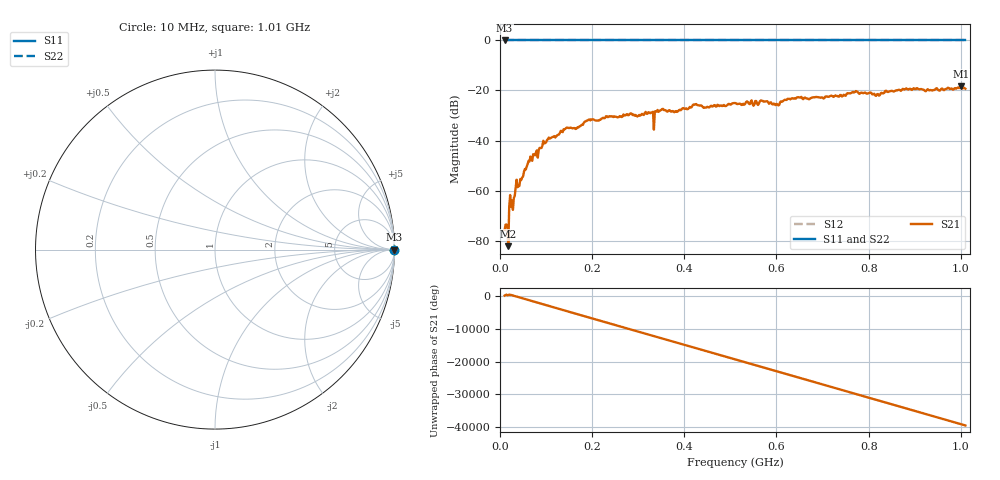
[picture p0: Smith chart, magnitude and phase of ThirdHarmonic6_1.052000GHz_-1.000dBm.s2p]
! 8/16/2025 9:18:54 AM
! C:\ANRITSUVNA\TEMP\TEMP.S2P
! CHANNEL.1
! TR.MEASUREMENT
! RAW.DATA
! RF.CORRECTION.OFF
! AVERAGING.OFF
! IF.BANDWIDTH: 5KHZ
! SWEEPTYPE:  FREQ.SWEEP(Linear)
! Reference Plane Port Info
! PORT:  PORT1  PORT2
! DISTANCE:  0  m  0  m
! TIME:  0  s  0  s
! PHASE.OFFSET:  0  deg.  0  deg.
! LOSS:  0  dB  0  dB
! REF.LOSS:  0  dB  0  dB
! REF.FREQ:  0  Hz  0  Hz
! Power Info
! POWER:  -20  dBm  -20  dBm
! EFF.POWER:  -20  dBm  -20  dBm
! SOURCE.ATTEN:  0  dB  0  dB
! TEST.ATTEN:  0  dB  0  dB
# GHZ S RI R 50.0
! FREQ.GHZ  S11RE  S11IM  S21RE  S21IM  S12RE  S12IM  S22RE  S22IM
!; PortSelection: Port_12
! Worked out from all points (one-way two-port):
!   501 points, 10 MHz to 1.01 GHz, reference 50 ohm
!   highest |S21| = -18.39 dB at 1 GHz (marker M1); lowest = -82.2 dB at 18 MHz (marker M2)
!   lowest |S11| = 0.0 dB at 10 MHz (marker M3)
!   |S11| at or under -10 dB: nowhere
!   |S22| runs from 0.0 to 0.0 dB; largest |S21 - S12| = 1.1
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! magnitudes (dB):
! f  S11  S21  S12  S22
! 10 MHz  0.0  -75.7  0.0  0.0
! 14 MHz  0.0  -73.6  0.0  0.0
! 18 MHz  0.0  -82.2  0.0  0.0
! 24 MHz  0.0  -66.4  0.0  0.0
! 28 MHz  0.0  -67.7  0.0  0.0
! 36 MHz  0.0  -55.7  0.0  0.0
! 62 MHz  0.0  -48.1  0.0  0.0
! 76 MHz  0.0  -45.9  0.0  0.0
! 106 MHz  0.0  -38.8  0.0  0.0
! 142 MHz  0.0  -35.3  0.0  0.0
! 178 MHz  0.0  -33.6  0.0  0.0
! 234 MHz  0.0  -30.7  0.0  0.0
! 328 MHz  0.0  -28.9  0.0  0.0
! 330 MHz  0.0  -28.7  0.0  0.0
! 344 MHz  0.0  -28.5  0.0  0.0
! 510 MHz  0.0  -25.0  0.0  0.0
! 602 MHz  0.0  -25.6  0.0  0.0
! 628 MHz  0.0  -23.3  0.0  0.0
! 678 MHz  0.0  -22.8  0.0  0.0
! 844 MHz  0.0  -20.4  0.0  0.0
! 1 GHz  0.0  -18.4  0.0  0.0
! 1.01 GHz  0.0  -19.3  0.0  0.0
